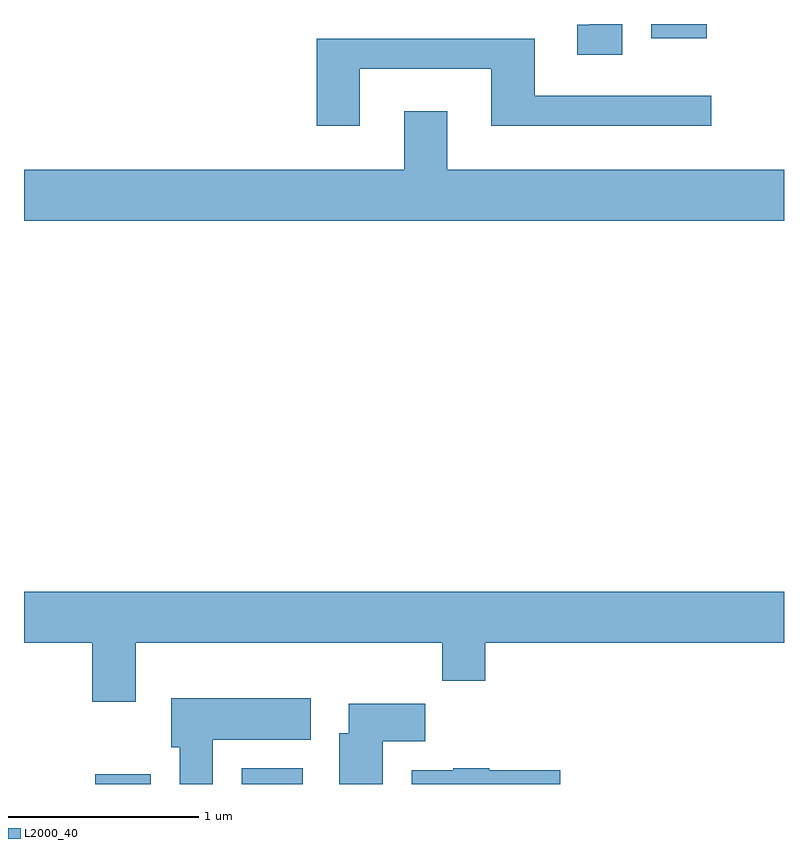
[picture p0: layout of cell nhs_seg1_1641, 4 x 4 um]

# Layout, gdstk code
import gdstk
lib = gdstk.Library(unit=1e-6, precision=1e-09)
def R(c, l, rs):  # rectangles x0, y0, x1, y1
    for r in rs: c.add(gdstk.rectangle(r[:2], r[2:], *l))
def P(c, l, *ps):  # polygons
    for p in ps: c.add(gdstk.Polygon(p, *l))
L2000_40 = (2000, 40)

nhs_seg1_1641 = lib.new_cell('nhs_seg1_1641')
R(nhs_seg1_1641, L2000_40, [(235.986,907.712,236.279,907.764), (236.756,907.712,237.079,907.794), (238.911,911.636,239.204,911.712)])
P(nhs_seg1_1641, L2000_40, [(238.759,911.712),(238.586,911.712),(238.586,911.709),(238.523,911.709),(238.523,911.551),(238.759,911.551)],
  [(237.379,911.476),(238.071,911.476),(238.071,911.176),(239.228,911.176),(239.228,911.334),(238.299,911.334),(238.299,911.634),(237.151,911.634),(237.151,911.176),(237.379,911.176)],
  [(239.611,910.944),(237.839,910.944),(237.839,911.254),(237.611,911.254),(237.611,910.944),(235.611,910.944),(235.611,910.676),(239.611,910.676)],
  [(236.199,908.456),(237.811,908.456),(237.811,908.256),(238.039,908.256),(238.039,908.456),(239.611,908.456),(239.611,908.724),(235.611,908.724),(235.611,908.456),(235.971,908.456),(235.971,908.146),(236.199,908.146)],
  [(236.604,907.946),(237.119,907.946),(237.119,908.164),(236.386,908.164),(236.386,907.906),(236.431,907.906),(236.431,907.712),(236.604,907.712)],
  [(237.499,907.936),(237.724,907.936),(237.724,908.134),(237.321,908.134),(237.321,907.979),(237.271,907.979),(237.271,907.712),(237.499,907.712)],
  [(238.434,907.784),(238.06,907.784),(238.06,907.794),(237.87,907.794),(237.87,907.784),(237.651,907.784),(237.651,907.712),(238.434,907.712)])

lib.write_gds('nhs_seg1_1641.gds')
